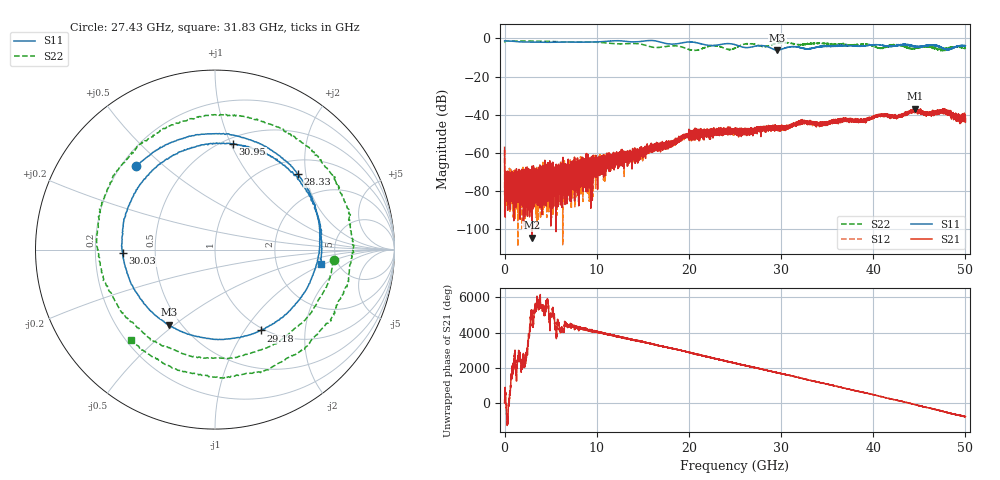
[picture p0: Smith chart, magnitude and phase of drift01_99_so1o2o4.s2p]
!Created with skrf (http://scikit-rf.org).
# Hz S RI R 50.0
!freq ReS11 ImS11 ReS21 ImS21 ReS12 ImS12 ReS22 ImS22
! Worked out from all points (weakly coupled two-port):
!   10001 points, 300 kHz to 50 GHz, reference 50 ohm
!   highest |S21| = -36.79 dB at 44.58 GHz (marker M1); lowest = -104.4 dB at 2.95 GHz (marker M2)
!   lowest |S11| = -6.2 dB at 29.61 GHz (marker M3), VSWR 2.92, Z = 21.7 - j23.9 ohm
!   |S11| at or under -10 dB: nowhere
!   |S22| runs from -6.6 to -1.4 dB; largest |S21 - S12| = 0.004
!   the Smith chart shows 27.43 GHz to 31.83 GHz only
!   S11 on the Smith chart (normalised r, x): 27.43 GHz: 0.26, +0.41; 28.33 GHz: 1.31, +1.81; 29.18 GHz: 0.97, -1.19; 30.03 GHz: 0.32, -0.02; 30.95 GHz: 0.56, +1.02; 31.83 GHz: 3.71, -0.89
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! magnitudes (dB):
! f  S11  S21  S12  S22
! 300 kHz  -1.3  -57.1  -58.5  -2.1
! 255.3 MHz  -1.4  -74.5  -79.5  -1.4
! 2.95 GHz  -2.0  -104.4  -94.5  -1.4
! 5.265 GHz  -2.1  -73.5  -75.8  -1.7
! 8.335 GHz  -2.0  -65.4  -78.7  -1.8
! 16.67 GHz  -1.6  -57.1  -56.3  -4.8
! 18.62 GHz  -2.9  -55.4  -53.1  -3.9
! 20.22 GHz  -1.9  -50.2  -48.9  -6.2
! 22.62 GHz  -3.8  -52.2  -48.1  -3.8
! 25 GHz  -3.3  -49.7  -48.9  -5.1
! 27.43 GHz  -3.9  -47.2  -47.5  -3.6
! 28.33 GHz  -4.1  -46.8  -47.0  -4.3
! 29.18 GHz  -5.7  -47.6  -47.4  -3.1
! 29.61 GHz  -6.2  -46.8  -46.0  -2.5
! 30.03 GHz  -5.8  -47.0  -47.2  -2.3
! 30.95 GHz  -4.5  -45.6  -46.3  -2.5
! 31.83 GHz  -4.5  -44.7  -43.6  -3.2
! 33.34 GHz  -5.3  -44.1  -44.6  -2.7
! 41.67 GHz  -4.2  -40.7  -40.2  -4.4
! 44.58 GHz  -4.2  -36.8  -37.9  -5.2
! 47.61 GHz  -5.3  -38.1  -38.3  -5.7
! 50 GHz  -3.8  -41.9  -42.2  -5.4
